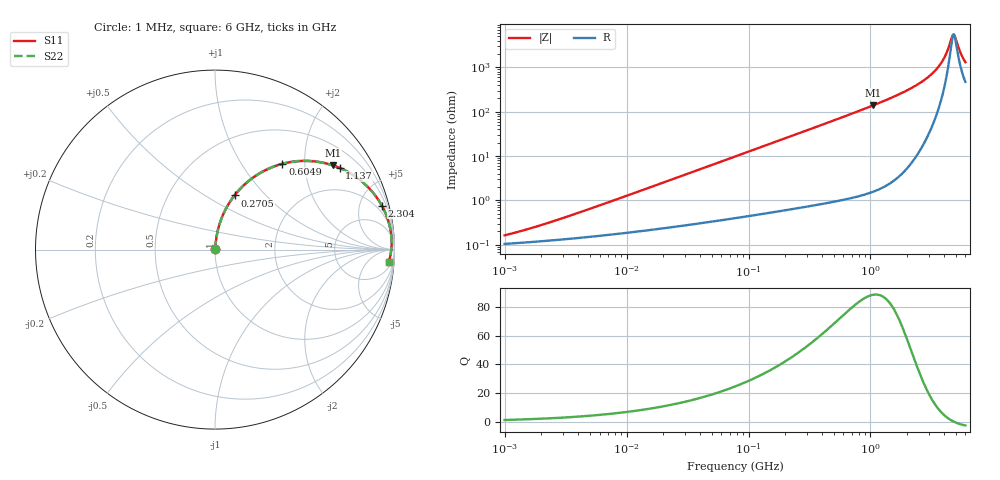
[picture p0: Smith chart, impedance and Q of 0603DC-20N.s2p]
# MHz  S  MA  R  50
!Freq  MagS11  AngS11  MagS21  AngS21  MagS12  AngS12  MagS22  AngS22
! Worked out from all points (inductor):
!   801 points, 1 MHz to 6 GHz, reference 50 ohm
!   read as one part in series: L = 20 nH near 3.201 MHz
!   highest Q = 88.4 at 1.053 GHz (marker M1), where L = 21 nH
!   self-resonance near 4.775 GHz
!   S11 on the Smith chart (normalised r, x): 1 MHz: 1.00, +0.00; 270.5 MHz: 1.01, +0.68; 604.9 MHz: 1.02, +1.54; 1.137 GHz: 1.03, +3.03; 2.304 GHz: 1.18, +7.52; 6 GHz: 10, -24
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1  0.001633 50.2  0.999 -0.1  0.999 -0.1  0.001633 50.2
1.838529  0.002591 62.8  0.9988 -0.1  0.9988 -0.1  0.002591 62.8
4.293785  0.005578 74.7  0.9985 -0.3  0.9985 -0.3  0.005578 74.7
18.23719  0.02297 83.0  0.9975 -1.3  0.9975 -1.3  0.02297 83.0
78.30659  0.09765 82.1  0.9913 -5.6  0.9913 -5.6  0.09765 82.1
160.5077  0.197 77.1  0.9751 -11.4  0.9751 -11.4  0.197 77.1
270.511  0.3209 70.1  0.9407 -18.7  0.9407 -18.7  0.3209 70.1
332.5952  0.3848 66.3  0.9161 -22.6  0.9161 -22.6  0.3848 66.3
604.8725  0.6074 51.8  0.7863 -37.4  0.7863 -37.4  0.6074 51.8
802.5161  0.7157 43.6  0.6898 -45.7  0.6898 -45.7  0.7157 43.6
1053.225  0.8075 35.5  0.5807 -53.9  0.5807 -53.9  0.8075 35.5
1136.527  0.83 33.3  0.5485 -56.1  0.5485 -56.1  0.83 33.3
1412.647  0.8849 27.1  0.4553 -62.2  0.4553 -62.2  0.8849 27.1
2304.383  0.9608 14.8  0.2555 -73.9  0.2555 -73.9  0.9608 14.8
2991.57  0.9791 9.2  0.1599 -77.9  0.1599 -77.9  0.9791 9.2
3599.025  0.9847 5.5  0.0966 -78.1  0.0966 -78.1  0.9847 5.5
4056.341  0.9853 3.2  0.05777 -73.7  0.05777 -73.7  0.9853 3.2
4621.753  0.9834 0.8  0.02155 -39.2  0.02155 -39.2  0.9834 0.8
4775.015  0.9825 0.2  0.01783 -10.7  0.01783 -10.7  0.9825 0.2
4933.36  0.9814 -0.4  0.01988 20.4  0.01988 20.4  0.9814 -0.4
5560.226  0.9759 -2.6  0.05067 60.3  0.05067 60.3  0.9759 -2.6
6000  0.9711 -4.0  0.07405 65.0  0.07405 65.0  0.9711 -4.0
